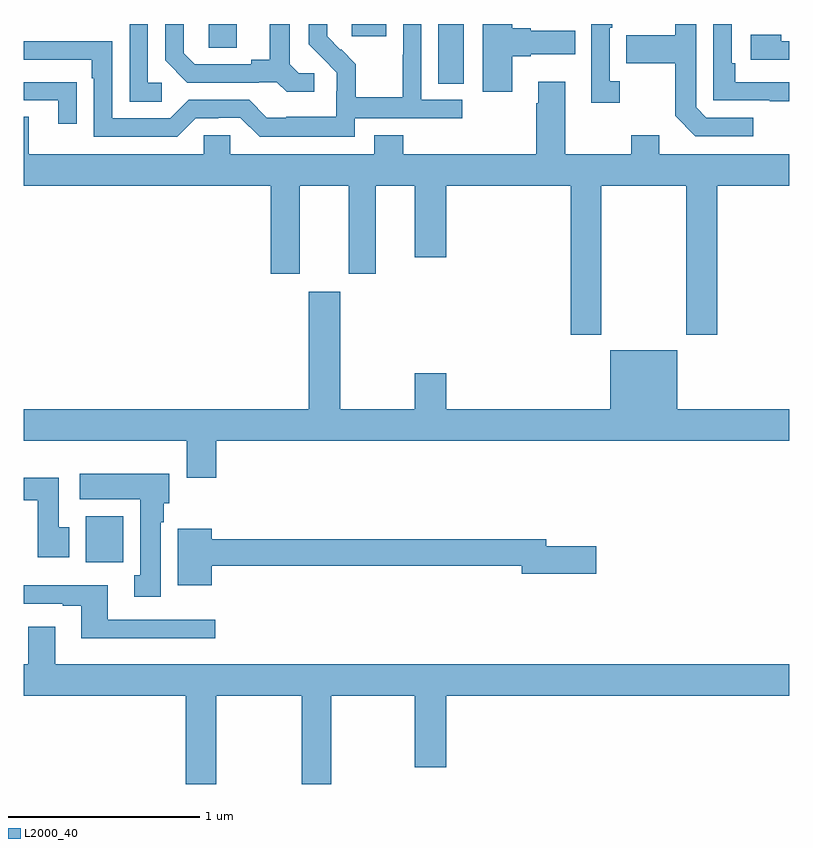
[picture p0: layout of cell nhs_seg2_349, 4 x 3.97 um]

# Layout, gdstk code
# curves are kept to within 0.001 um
import gdstk
lib = gdstk.Library(unit=1e-6, precision=1e-09)
def R(c, l, rs):  # rectangles x0, y0, x1, y1
    for r in rs: c.add(gdstk.rectangle(r[:2], r[2:], *l))
def P(c, l, *ps):  # polygons
    for p in ps: c.add(gdstk.Polygon(p, *l))
L2000_40 = (2000, 40)

nhs_seg2_349 = lib.new_cell('nhs_seg2_349')
R(nhs_seg2_349, L2000_40, [(127.325,658.988,127.522,659.23), (129.167,661.489,129.298,661.8), (127.968,661.675,128.113,661.8), (128.714,661.737,128.893,661.8)])
P(nhs_seg2_349, L2000_40, [(128.73,661.308),(129.292,661.308),(129.292,661.404),(129.078,661.404),(129.078,661.8),(128.982,661.8),(128.982,661.64),(128.98,661.64),(128.98,661.417),(128.735,661.417),(128.735,661.591),(128.658,661.668),(128.655,661.665),(128.585,661.736),(128.585,661.8),(128.49,661.8),(128.49,661.694),(128.636,661.546),(128.636,661.449),(128.634,661.449),(128.634,661.315),(128.371,661.315),(128.371,661.311),(128.271,661.311),(128.178,661.404),(127.863,661.404),(127.767,661.308),(127.464,661.308),(127.464,661.71),(127,661.71),(127,661.614),(127.355,661.614),(127.355,661.517),(127.368,661.517),(127.368,661.212),(127.803,661.212),(127.899,661.308),(128.018,661.308),(128.018,661.311),(128.133,661.311),(128.233,661.211),(128.73,661.211)],
  [(127.723,661.494),(127.65,661.494),(127.65,661.8),(127.554,661.8),(127.554,661.393),(127.723,661.393)],
  [(130.81,661.311),(130.566,661.311),(130.512,661.365),(130.512,661.8),(130.404,661.8),(130.404,661.741),(130.147,661.741),(130.147,661.594),(130.404,661.594),(130.404,661.321),(130.509,661.215),(130.81,661.215)],
  [(128.518,661.542),(128.436,661.542),(128.389,661.589),(128.389,661.8),(128.285,661.8),(128.285,661.613),(128.189,661.613),(128.189,661.59),(127.894,661.59),(127.837,661.647),(127.837,661.8),(127.74,661.8),(127.74,661.61),(127.856,661.494),(128.228,661.494),(128.228,661.497),(128.322,661.497),(128.374,661.445),(128.518,661.445)],
  [(131,661.497),(130.718,661.497),(130.718,661.594),(130.698,661.594),(130.698,661.8),(130.602,661.8),(130.602,661.401),(130.897,661.401),(130.897,661.396),(131,661.396)],
  [(129.553,661.631),(129.649,661.631),(129.649,661.643),(129.88,661.643),(129.88,661.765),(129.649,661.765),(129.649,661.778),(129.553,661.778),(129.553,661.8),(129.398,661.8),(129.398,661.446),(129.553,661.446)],
  [(130.114,661.502),(130.062,661.502),(130.062,661.781),(130.075,661.781),(130.075,661.8),(129.966,661.8),(129.966,661.389),(130.114,661.389)],
  [(131,661.71),(130.958,661.71),(130.958,661.744),(130.797,661.744),(130.797,661.614),(131,661.614)],
  [(130.017,660.956),(130.462,660.956),(130.462,660.177),(130.622,660.177),(130.622,660.956),(131,660.956),(131,661.12),(130.321,661.12),(130.321,661.219),(130.174,661.219),(130.174,661.12),(129.829,661.12),(129.829,661.498),(129.689,661.498),(129.689,661.385),(129.677,661.385),(129.677,661.12),(128.983,661.12),(128.983,661.219),(128.831,661.219),(128.831,661.12),(128.079,661.12),(128.079,661.218),(127.941,661.218),(127.941,661.12),(127.027,661.12),(127.027,661.315),(127,661.315),(127,660.956),(128.291,660.956),(128.291,660.495),(128.443,660.495),(128.443,660.956),(128.699,660.956),(128.699,660.495),(128.839,660.495),(128.839,660.956),(129.044,660.956),(129.044,660.582),(129.208,660.582),(129.208,660.956),(129.857,660.956),(129.857,660.177),(130.017,660.177)],
  [(127.277,661.496),(127.175,661.496),(127.175,661.497),(127,661.497),(127,661.401),(127.181,661.401),(127.181,661.278),(127.277,661.278)],
  [(128.006,659.624),(131,659.624),(131,659.788),(130.414,659.788),(130.414,660.097),(130.064,660.097),(130.064,659.788),(129.208,659.788),(129.208,659.977),(129.044,659.977),(129.044,659.788),(128.653,659.788),(128.653,660.403),(128.489,660.403),(128.489,659.788),(127,659.788),(127,659.624),(127.853,659.624),(127.853,659.43),(128.006,659.43)],
  [(127.717,659.198),(127.732,659.198),(127.732,659.298),(127.762,659.298),(127.762,659.452),(127.293,659.452),(127.293,659.318),(127.61,659.318),(127.61,658.922),(127.577,658.922),(127.577,658.809),(127.717,658.809)],
  [(127.24,659.172),(127.183,659.172),(127.183,659.431),(127,659.431),(127,659.312),(127.073,659.312),(127.073,659.016),(127.24,659.016)],
  [(127.984,658.972),(129.602,658.972),(129.602,658.93),(129.991,658.93),(129.991,659.072),(129.73,659.072),(129.73,659.108),(127.984,659.108),(127.984,659.164),(127.805,659.164),(127.805,658.868),(127.984,658.868)],
  [(128.002,658.689),(127.441,658.689),(127.441,658.87),(127,658.87),(127,658.773),(127.205,658.773),(127.205,658.761),(127.301,658.761),(127.301,658.592),(128.002,658.592)],
  [(128.007,658.292),(128.452,658.292),(128.452,657.831),(128.607,657.831),(128.607,658.292),(129.044,658.292),(129.044,657.918),(129.208,657.918),(129.208,658.292),(131,658.292),(131,658.456),(127.165,658.456),(127.165,658.651),(127.025,658.651),(127.025,658.456),(127,658.456),(127,658.292),(127.847,658.292),(127.847,657.831),(128.007,657.831)])

lib.write_gds('nhs_seg2_349.gds')
